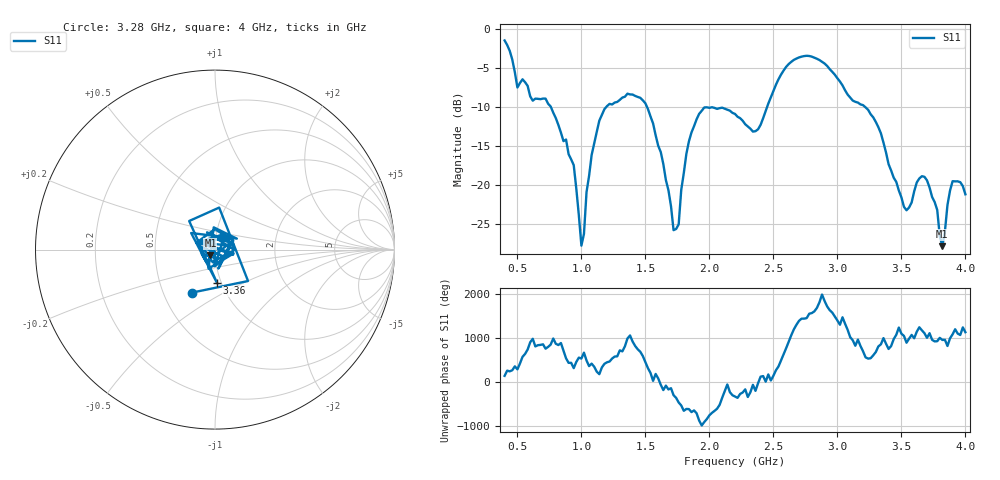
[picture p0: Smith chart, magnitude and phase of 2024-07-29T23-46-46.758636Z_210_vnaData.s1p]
!Created with skrf (http://scikit-rf.org).
# Hz S RI R 50.0
!freq ReS11 ImS11
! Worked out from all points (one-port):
!   181 points, 400 MHz to 4 GHz, reference 50 ohm
!   lowest |S11| = -27.8 dB at 3.82 GHz (marker M1), VSWR 1.08, Z = 47.4 - j3 ohm
!   |S11| at or under -10 dB: 761.9 MHz to 1.194 GHz (431.8 MHz wide, 44.2 % of centre); 1.513 GHz to 2.451 GHz (937.4 MHz wide, 47.3 % of centre); 3.217 GHz to end of sweep
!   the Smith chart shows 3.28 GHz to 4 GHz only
!   S11 on the Smith chart (normalised r, x): 3.28 GHz: 0.70, -0.36; 3.36 GHz: 0.95, -0.37; 4 GHz: 1.12, +0.15
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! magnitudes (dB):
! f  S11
! 400 MHz  -1.5
! 500 MHz  -7.5
! 720 MHz  -8.9
! 860 MHz  -14.4
! 940 MHz  -17.4
! 1 GHz  -27.7
! 1.08 GHz  -16.1
! 1.14 GHz  -11.7
! 1.3 GHz  -9.1
! 1.5 GHz  -9.5
! 1.62 GHz  -15.8
! 1.72 GHz  -25.8
! 1.76 GHz  -25.0
! 1.82 GHz  -16.0
! 1.92 GHz  -10.9
! 2.2 GHz  -10.9
! 2.38 GHz  -12.8
! 2.66 GHz  -4.0
! 2.86 GHz  -4.0
! 3.1 GHz  -8.8
! 3.28 GHz  -11.3
! 3.36 GHz  -14.6
! 3.56 GHz  -22.9
! 3.68 GHz  -18.9
! 3.78 GHz  -23.2
! 3.82 GHz  -27.8
! 3.9 GHz  -19.5
! 4 GHz  -21.2
